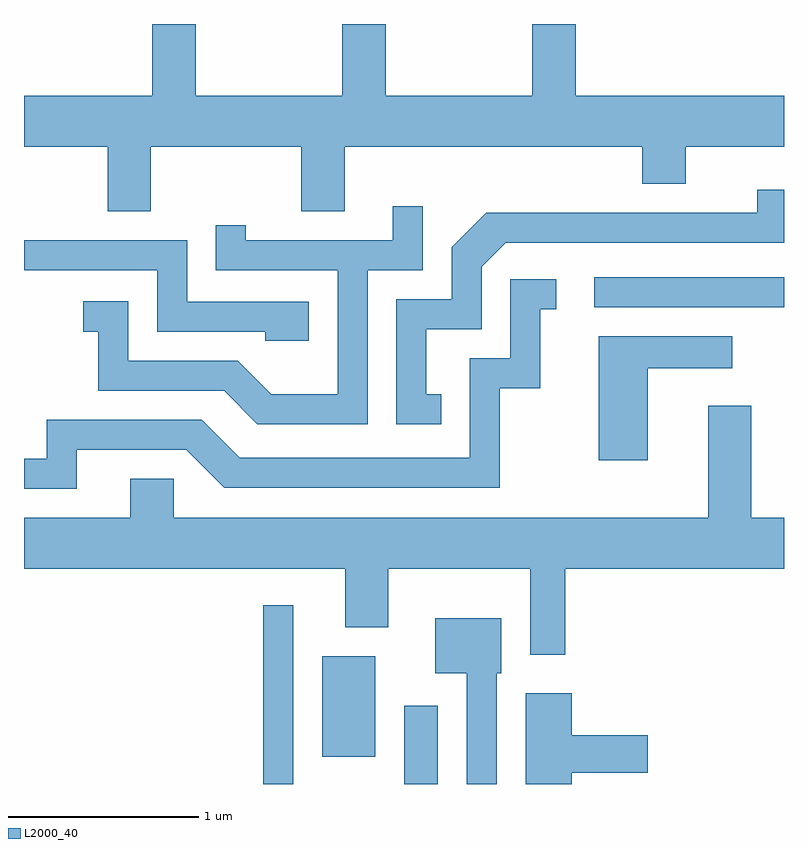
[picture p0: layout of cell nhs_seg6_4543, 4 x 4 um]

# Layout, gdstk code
import gdstk
lib = gdstk.Library(unit=1e-6, precision=1e-09)
def R(c, l, rs):  # rectangles x0, y0, x1, y1
    for r in rs: c.add(gdstk.rectangle(r[:2], r[2:], *l))
def P(c, l, *ps):  # polygons
    for p in ps: c.add(gdstk.Polygon(p, *l))
L2000_40 = (2000, 40)

nhs_seg6_4543 = lib.new_cell('nhs_seg6_4543')
R(nhs_seg6_4543, L2000_40, [(324.871,1622.162,325.029,1623.103), (325.611,1622.162,325.789,1622.574), (325.181,1622.306,325.459,1622.834), (326.613,1624.671,327.611,1624.829)])
P(nhs_seg6_4543, L2000_40, [(324.279,1625.516),(325.071,1625.516),(325.071,1625.176),(325.299,1625.176),(325.299,1625.516),(326.866,1625.516),(326.866,1625.321),(327.094,1625.321),(327.094,1625.516),(327.611,1625.516),(327.611,1625.784),(326.514,1625.784),(326.514,1626.162),(326.286,1626.162),(326.286,1625.784),(325.514,1625.784),(325.514,1626.162),(325.286,1626.162),(325.286,1625.784),(324.514,1625.784),(324.514,1626.162),(324.286,1626.162),(324.286,1625.784),(323.611,1625.784),(323.611,1625.516),(324.051,1625.516),(324.051,1625.176),(324.279,1625.176)],
  [(325.808,1624.214),(325.729,1624.214),(325.729,1624.556),(326.019,1624.556),(326.019,1624.884),(326.147,1625.011),(327.611,1625.011),(327.611,1625.289),(327.471,1625.289),(327.471,1625.169),(326.044,1625.169),(325.861,1624.987),(325.861,1624.714),(325.571,1624.714),(325.571,1624.056),(325.808,1624.056)],
  [(325.419,1624.866),(325.709,1624.866),(325.709,1625.203),(325.551,1625.203),(325.551,1625.024),(324.779,1625.024),(324.779,1625.103),(324.621,1625.103),(324.621,1624.866),(325.261,1624.866),(325.261,1624.214),(324.912,1624.214),(324.737,1624.389),(324.159,1624.389),(324.159,1624.704),(323.923,1624.704),(323.923,1624.541),(324.001,1624.541),(324.001,1624.231),(324.664,1624.231),(324.839,1624.056),(325.419,1624.056)],
  [(325.109,1624.699),(324.469,1624.699),(324.469,1625.024),(323.611,1625.024),(323.611,1624.866),(324.311,1624.866),(324.311,1624.541),(324.881,1624.541),(324.881,1624.496),(325.109,1624.496)],
  [(323.889,1623.921),(324.464,1623.921),(324.664,1623.721),(326.114,1623.721),(326.114,1624.246),(326.329,1624.246),(326.329,1624.661),(326.413,1624.661),(326.413,1624.819),(326.171,1624.819),(326.171,1624.404),(325.956,1624.404),(325.956,1623.879),(324.747,1623.879),(324.547,1624.079),(323.731,1624.079),(323.731,1623.874),(323.611,1623.874),(323.611,1623.716),(323.889,1623.716)],
  [(326.894,1624.351),(327.338,1624.351),(327.338,1624.519),(326.636,1624.519),(326.636,1623.866),(326.894,1623.866)],
  [(326.459,1623.296),(327.611,1623.296),(327.611,1623.564),(327.439,1623.564),(327.439,1624.154),(327.211,1624.154),(327.211,1623.564),(324.399,1623.564),(324.399,1623.769),(324.171,1623.769),(324.171,1623.564),(323.611,1623.564),(323.611,1623.296),(325.301,1623.296),(325.301,1622.986),(325.529,1622.986),(325.529,1623.296),(326.276,1623.296),(326.276,1622.841),(326.459,1622.841)],
  [(326.099,1622.746),(326.124,1622.746),(326.124,1623.034),(325.776,1623.034),(325.776,1622.746),(325.941,1622.746),(325.941,1622.162),(326.099,1622.162)],
  [(326.494,1622.221),(326.894,1622.221),(326.894,1622.419),(326.494,1622.419),(326.494,1622.639),(326.251,1622.639),(326.251,1622.162),(326.494,1622.162)])

lib.write_gds('nhs_seg6_4543.gds')
